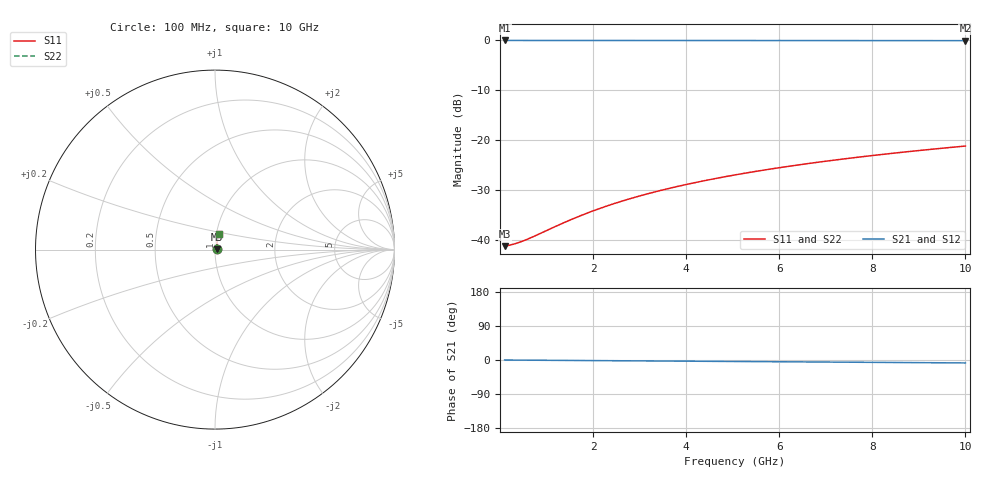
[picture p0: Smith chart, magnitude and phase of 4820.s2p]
# Hz S RI R 50.00
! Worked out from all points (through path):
!   100 points, 100 MHz to 10 GHz, reference 50 ohm
!   highest |S21| = -0.08 dB at 100 MHz (marker M1); lowest = -0.1 dB at 10 GHz (marker M2)
!   group delay of S21, straight-line fit = 2.15 ps
!   lowest |S11| = -41.1 dB at 100 MHz (marker M3), VSWR 1.02, Z = 50.9 + j0.0879 ohm
!   |S11| at or under -10 dB: start of sweep to end of sweep
!   |S22| runs from -41.1 to -21.2 dB; largest |S21 - S12| = 0
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1e8  0.00873 0.000864  0.9913 -0.00134  0.9913 -0.00134  0.00873 0.000864
2e8  0.0088 0.00173  0.9912 -0.00268  0.9912 -0.00268  0.0088 0.00173
3e8  0.00884 0.00259  0.9912 -0.00402  0.9912 -0.00402  0.00884 0.00259
4e8  0.00888 0.00345  0.9911 -0.00536  0.9911 -0.00536  0.00888 0.00345
5e8  0.00892 0.00432  0.9911 -0.0067  0.9911 -0.0067  0.00892 0.00432
7e8  0.009 0.00604  0.991 -0.00938  0.991 -0.00938  0.009 0.00604
1.4e9  0.00929 0.0121  0.9907 -0.0187  0.9907 -0.0187  0.00929 0.0121
1.8e9  0.00949 0.0155  0.9905 -0.0241  0.9905 -0.0241  0.00949 0.0155
2.2e9  0.00972 0.019  0.9902 -0.0295  0.9902 -0.0295  0.00972 0.019
2.6e9  0.00998 0.0224  0.9899 -0.0348  0.9899 -0.0348  0.00998 0.0224
3e9  0.0103 0.0258  0.9896 -0.0401  0.9896 -0.0401  0.0103 0.0258
3.4e9  0.0106 0.0293  0.9892 -0.0455  0.9892 -0.0455  0.0106 0.0293
3.8e9  0.011 0.0327  0.9888 -0.0508  0.9888 -0.0508  0.011 0.0327
4.2e9  0.0114 0.0361  0.9884 -0.0562  0.9884 -0.0562  0.0114 0.0361
4.6e9  0.0118 0.0395  0.9879 -0.0615  0.9879 -0.0615  0.0118 0.0395
5.1e9  0.0124 0.0438  0.9873 -0.0681  0.9873 -0.0681  0.0124 0.0438
5.9e9  0.0135 0.0506  0.9861 -0.0788  0.9861 -0.0788  0.0135 0.0506
6.7e9  0.0147 0.0574  0.9848 -0.0894  0.9848 -0.0894  0.0147 0.0574
7.5e9  0.016 0.0641  0.9833 -0.0999  0.9833 -0.0999  0.016 0.0641
8.4e9  0.0177 0.0717  0.9814 -0.1118  0.9814 -0.1118  0.0177 0.0717
9.2e9  0.0194 0.0784  0.9796 -0.1223  0.9796 -0.1223  0.0194 0.0784
1e10  0.0212 0.085  0.9776 -0.1327  0.9776 -0.1327  0.0212 0.085
